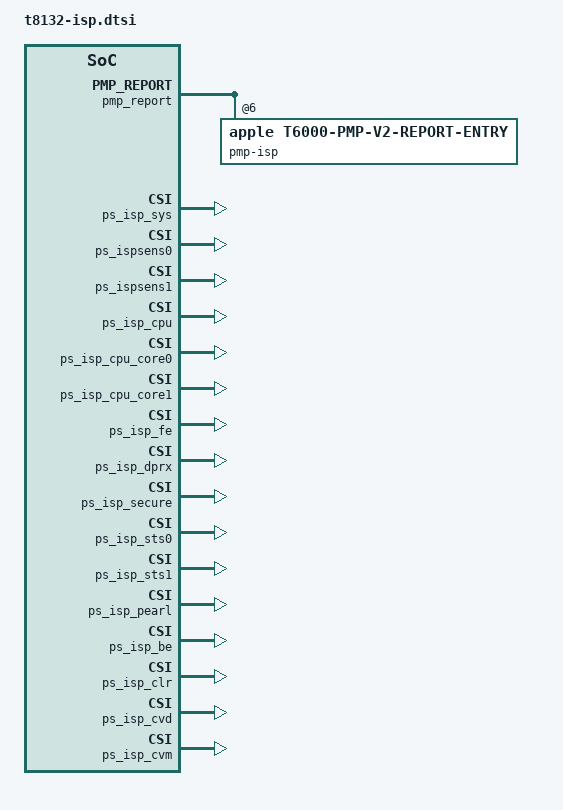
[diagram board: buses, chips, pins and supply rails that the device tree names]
// SPDX-License-Identifier: GPL-2.0+ OR MIT
/*
 * Apple T8132 (M4) ISP.
 *
 * Addresses, interrupts, DART properties and the power topology come from
 * the J713 ADT (/arm-io/isp, /arm-io/dart-isp, pmgr device table, PMP
 * soc-device table). The M4 has the same H16 ISP as the M4 Max: the DARTs
 * sit at the same offsets from the coprocessor and the mailbox offsets of
 * t6041-isp.dtsi work on J713.
 *
 * Only boards with a camera include this file, so the power domains are
 * left enabled; isp-common.dtsi enables the ISP and its DARTs.
 *
 * Copyright The Asahi Linux Contributors
 */

&pmp_report {
	/* PMP soc-device "ISP" is entry 7; report indices are entry - 1. */
	pmp_report_isp: report@6 {
		compatible = "apple,t6000-pmp-v2-report-entry";
		reg = <0x6>;
		label = "pmp-isp";
		/*
		 * The PMP acknowledges turning this report off but not turning it
		 * back on (power-on times out), so keep it and ISP_SYS on. ISP_SYS
		 * also holds dart-isp's DAPF and the ISP boot vector.
		 */
		apple,always-on;
		#power-domain-cells = <0>;
		power-domains = <&ps_isp_sys>;
	};
};

&pmgr {
	/* ADT ISP_SYS: ps-regs[5] index 6. */
	ps_isp_sys: power-controller@530 {
		compatible = "apple,t8132-pmgr-pwrstate", "apple,t8103-pmgr-pwrstate";
		reg = <0x530 4>;
		#power-domain-cells = <0>;
		#reset-cells = <0>;
		label = "isp_sys";
		apple,always-on;
	};

	/*
	 * ADT ISPSENS0/1 (ps-regs[1] indices 17 and 18). The ISP node lists them
	 * in its power-gates, and dart-isp's DAPF does not grant the firmware
	 * these registers, so the host powers the sensors.
	 */
	ps_ispsens0: power-controller@188 {
		compatible = "apple,t8132-pmgr-pwrstate", "apple,t8103-pmgr-pwrstate";
		reg = <0x188 4>;
		#power-domain-cells = <0>;
		#reset-cells = <0>;
		label = "ispsens0";
	};

	ps_ispsens1: power-controller@190 {
		compatible = "apple,t8132-pmgr-pwrstate", "apple,t8103-pmgr-pwrstate";
		reg = <0x190 4>;
		#power-domain-cells = <0>;
		#reset-cells = <0>;
		label = "ispsens1";
	};

	/*
	 * The ISP block's own domains at pmgr+0x4000, in ADT order: ISP_CPU,
	 * CPU_CORE0/1, FE, DPRX, SECURE, then STS0/1, PEARL, BE, CLR, CVD, CVM.
	 * DAPF grants the firmware all thirteen, but the host must power all
	 * of them: with only the first six on (as on T6041), firmware 26.6.2
	 * takes an SError while loading its J713 tunables.
	 */
	ps_isp_cpu: power-controller@4000 {
		compatible = "apple,t8132-pmgr-pwrstate", "apple,t8103-pmgr-pwrstate";
		reg = <0x4000 4>;
		#power-domain-cells = <0>;
		#reset-cells = <0>;
		label = "isp_cpu";
		power-domains = <&pmp_report_isp>;
	};

	ps_isp_cpu_core0: power-controller@4008 {
		compatible = "apple,t8132-pmgr-pwrstate", "apple,t8103-pmgr-pwrstate";
		reg = <0x4008 4>;
		#power-domain-cells = <0>;
		#reset-cells = <0>;
		label = "isp_cpu_core0";
		power-domains = <&ps_isp_cpu>;
	};

	ps_isp_cpu_core1: power-controller@4010 {
		compatible = "apple,t8132-pmgr-pwrstate", "apple,t8103-pmgr-pwrstate";
		reg = <0x4010 4>;
		#power-domain-cells = <0>;
		#reset-cells = <0>;
		label = "isp_cpu_core1";
		power-domains = <&ps_isp_cpu>;
	};

	ps_isp_fe: power-controller@4018 {
		compatible = "apple,t8132-pmgr-pwrstate", "apple,t8103-pmgr-pwrstate";
		reg = <0x4018 4>;
		#power-domain-cells = <0>;
		#reset-cells = <0>;
		label = "isp_fe";
		power-domains = <&pmp_report_isp>;
	};

	ps_isp_dprx: power-controller@4020 {
		compatible = "apple,t8132-pmgr-pwrstate", "apple,t8103-pmgr-pwrstate";
		reg = <0x4020 4>;
		#power-domain-cells = <0>;
		#reset-cells = <0>;
		label = "isp_dprx";
		power-domains = <&ps_isp_fe>;
	};

	ps_isp_secure: power-controller@4028 {
		compatible = "apple,t8132-pmgr-pwrstate", "apple,t8103-pmgr-pwrstate";
		reg = <0x4028 4>;
		#power-domain-cells = <0>;
		#reset-cells = <0>;
		label = "isp_secure";
		power-domains = <&ps_isp_fe>;
	};

	ps_isp_sts0: power-controller@4030 {
		compatible = "apple,t8132-pmgr-pwrstate", "apple,t8103-pmgr-pwrstate";
		reg = <0x4030 4>;
		#power-domain-cells = <0>;
		#reset-cells = <0>;
		label = "isp_sts0";
		power-domains = <&ps_isp_fe>;
	};

	ps_isp_sts1: power-controller@4038 {
		compatible = "apple,t8132-pmgr-pwrstate", "apple,t8103-pmgr-pwrstate";
		reg = <0x4038 4>;
		#power-domain-cells = <0>;
		#reset-cells = <0>;
		label = "isp_sts1";
		power-domains = <&ps_isp_fe>;
	};

	ps_isp_pearl: power-controller@4040 {
		compatible = "apple,t8132-pmgr-pwrstate", "apple,t8103-pmgr-pwrstate";
		reg = <0x4040 4>;
		#power-domain-cells = <0>;
		#reset-cells = <0>;
		label = "isp_pearl";
		power-domains = <&ps_isp_fe>;
	};

	ps_isp_be: power-controller@4048 {
		compatible = "apple,t8132-pmgr-pwrstate", "apple,t8103-pmgr-pwrstate";
		reg = <0x4048 4>;
		#power-domain-cells = <0>;
		#reset-cells = <0>;
		label = "isp_be";
		power-domains = <&ps_isp_fe>;
	};

	ps_isp_clr: power-controller@4050 {
		compatible = "apple,t8132-pmgr-pwrstate", "apple,t8103-pmgr-pwrstate";
		reg = <0x4050 4>;
		#power-domain-cells = <0>;
		#reset-cells = <0>;
		label = "isp_clr";
		power-domains = <&ps_isp_be>;
	};

	ps_isp_cvd: power-controller@4058 {
		compatible = "apple,t8132-pmgr-pwrstate", "apple,t8103-pmgr-pwrstate";
		reg = <0x4058 4>;
		#power-domain-cells = <0>;
		#reset-cells = <0>;
		label = "isp_cvd";
		power-domains = <&ps_isp_be>;
	};

	ps_isp_cvm: power-controller@4060 {
		compatible = "apple,t8132-pmgr-pwrstate", "apple,t8103-pmgr-pwrstate";
		reg = <0x4060 4>;
		#power-domain-cells = <0>;
		#reset-cells = <0>;
		label = "isp_cvm";
		power-domains = <&ps_isp_cvd>;
	};
};

&soc {
	isp_dart0: iommu@48e8c0000 {
		compatible = "apple,t8132-dart", "apple,t8110-dart";
		reg = <0x4 0x8e8c0000 0x0 0xc000>,
		      <0x4 0x8e8d0000 0x0 0x4000>;
		reg-names = "dart", "dapf";
		/*
		 * ADT dart-isp dapf-instance-0: the PMGR ISP block domains,
		 * PMGR+0x30000, the MCC DSID ranges, the PMP PTD window and the
		 * ISP bandwidth-request word, plus three ranges of unknown use.
		 * Without it the firmware faults on its first PMGR access.
		 */
		apple,dapf-ranges =
			/bits/ 64 <0x380704000 0x380704063>,
			/bits/ 64 <0x380730000 0x380733fff>,
			/bits/ 64 <0x380e3c000 0x380e3c003>,
			/bits/ 64 <0x39062c000 0x390648003>,
			/bits/ 64 <0x501660000 0x501660003>,
			/bits/ 64 <0x220004000 0x2200162fc>,
			/bits/ 64 <0x220044000 0x2200562fc>,
			/bits/ 64 <0x2201c4000 0x2201d62fc>,
			/bits/ 64 <0x222004000 0x2220162fc>,
			/bits/ 64 <0x222044000 0x2220562fc>,
			/bits/ 64 <0x2221c4000 0x2221d62fc>,
			/bits/ 64 <0x3803c0000 0x3803e4000>,
			/bits/ 64 <0x382824000 0x382824004>;
		#iommu-cells = <1>;
		interrupt-parent = <&aic>;
		interrupts = <AIC_IRQ 387 IRQ_TYPE_LEVEL_HIGH>;
		power-domains = <&pmp_report_isp>;
		/*
		 * ADT vm-base 0x100_0000_0000, remap list and bypass-15. The window
		 * is 4 GiB (ADT vm-size 0xe0000000) because the driver hands out
		 * IOVAs up to heap top + apple,dart-vm-size.
		 */
		apple,dma-range = <0x100 0x0 0x1 0x0>;
		apple,sid-remap = <1 0>, <2 0>, <3 0>, <6 0>, <7 0>, <10 0>, <11 0>;
		apple,bypass-sids = <15>;
		status = "disabled";
	};

	isp_dart1: iommu@48e8e0000 {
		compatible = "apple,t8132-dart", "apple,t8110-dart";
		reg = <0x4 0x8e8e0000 0x0 0xc000>;
		#iommu-cells = <1>;
		interrupt-parent = <&aic>;
		interrupts = <AIC_IRQ 387 IRQ_TYPE_LEVEL_HIGH>;
		power-domains = <&pmp_report_isp>;
		apple,dma-range = <0x100 0x0 0x1 0x0>;
		apple,sid-remap = <1 0>, <2 0>, <3 0>, <6 0>, <7 0>, <10 0>, <11 0>;
		apple,bypass-sids = <15>;
		status = "disabled";
	};

	isp_dart2: iommu@48e900000 {
		compatible = "apple,t8132-dart", "apple,t8110-dart";
		reg = <0x4 0x8e900000 0x0 0xc000>;
		#iommu-cells = <1>;
		interrupt-parent = <&aic>;
		interrupts = <AIC_IRQ 387 IRQ_TYPE_LEVEL_HIGH>;
		power-domains = <&pmp_report_isp>;
		apple,dma-range = <0x100 0x0 0x1 0x0>;
		apple,sid-remap = <1 0>, <2 0>, <3 0>, <6 0>, <7 0>, <10 0>, <11 0>;
		apple,bypass-sids = <15>;
		status = "disabled";
	};

	isp: isp@48c000000 {
		compatible = "apple,t8132-isp";
		reg = <0x4 0x8c000000 0x0 0x2000000>,
		      <0x4 0x8e924000 0x0 0x100>,
		      <0x4 0x8e9241d0 0x0 0x100>,
		      <0x4 0x8e924458 0x0 0x100>;
		reg-names = "coproc", "mbox", "gpio", "mbox2";
		interrupt-parent = <&aic>;
		/* First of the ADT's five ISP interrupts (369-372, 382). */
		interrupts = <AIC_IRQ 369 IRQ_TYPE_LEVEL_HIGH>;
		iommus = <&isp_dart0 0>, <&isp_dart1 0>, <&isp_dart2 0>;
		power-domains = <&ps_isp_cpu>, <&ps_isp_cpu_core0>,
				<&ps_isp_cpu_core1>, <&ps_isp_fe>,
				<&ps_isp_dprx>, <&ps_isp_secure>,
				<&ps_isp_sts0>, <&ps_isp_sts1>,
				<&ps_isp_pearl>, <&ps_isp_be>,
				<&ps_isp_clr>, <&ps_isp_cvd>,
				<&ps_isp_cvm>,
				<&ps_ispsens0>, <&ps_ispsens1>;
		apple,pmp-report = <&pmp_report>;
		apple,dart-vm-size = <0x0 0xe0000000>;
		apple,temporal-filter = <0>;
		status = "disabled";
	};
};
